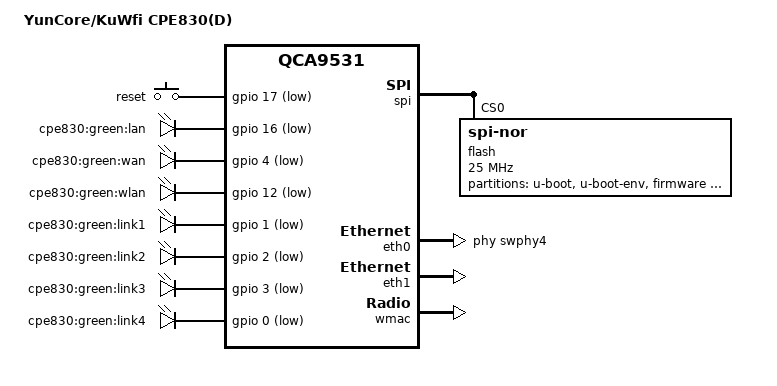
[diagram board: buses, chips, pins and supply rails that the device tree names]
// SPDX-License-Identifier: GPL-2.0-or-later OR MIT
/dts-v1/;

#include <dt-bindings/gpio/gpio.h>
#include <dt-bindings/input/input.h>

#include "qca953x.dtsi"

/ {
	compatible = "yuncore,cpe830", "qca,qca9531";
	model = "YunCore/KuWfi CPE830(D)";

	chosen {
		bootargs = "console=ttyS0,115200";
	};

	keys {
		compatible = "gpio-keys";

		reset {
			label = "reset";
			linux,code = <KEY_RESTART>;
			gpios = <&gpio 17 GPIO_ACTIVE_LOW>;
		};
	};

	leds {
		compatible = "gpio-leds";
				
		lan {
			label = "cpe830:green:lan";
			gpios = <&gpio 16 GPIO_ACTIVE_LOW>;
		};

		wan {
			label = "cpe830:green:wan";
			gpios = <&gpio 4 GPIO_ACTIVE_LOW>;
		};

		wlan {
			label = "cpe830:green:wlan";
			gpios = <&gpio 12 GPIO_ACTIVE_LOW>;
			linux,default-trigger = "phy0tpt";
		};

		link1 {
			label = "cpe830:green:link1";
			gpios = <&gpio 1 GPIO_ACTIVE_LOW>;
		};

		link2 {
			label = "cpe830:green:link2";
			gpios = <&gpio 2 GPIO_ACTIVE_LOW>;
		};

		link3 {
			label = "cpe830:green:link3";
			gpios = <&gpio 3 GPIO_ACTIVE_LOW>;
		};

		link4 {
			label = "cpe830:green:link4";
			gpios = <&gpio 0 GPIO_ACTIVE_LOW>;
		};
	};
};

&spi {
	status = "okay";

	num-cs = <1>;

	flash@0 {
		compatible = "jedec,spi-nor";
		reg = <0>;
		spi-max-frequency = <25000000>;

		partitions {
			compatible = "fixed-partitions";
			#address-cells = <1>;
			#size-cells = <1>;

			partition@0 {
				label = "u-boot";
				reg = <0x000000 0x040000>;
				read-only;
			};

			partition@40000 {
				label = "u-boot-env";
				reg = <0x040000 0x010000>;
			};

			partition@50000 {
				compatible = "denx,uimage";
				label = "firmware";
				reg = <0x050000 0xfa0000>;
			};

			art: partition@ff0000 {
				label = "art";
				reg = <0xff0000 0x010000>;
				read-only;
			};
		};
	};
};

&eth0 {
	status = "okay";
	mtd-mac-address = <&art 0x0>;
	phy-handle = <&swphy4>;
};

&eth1 {
	status = "okay";
	mtd-mac-address = <&art 0x6>;
};

&wmac {
	status = "okay";
	mtd-cal-data = <&art 0x1000>;
};
